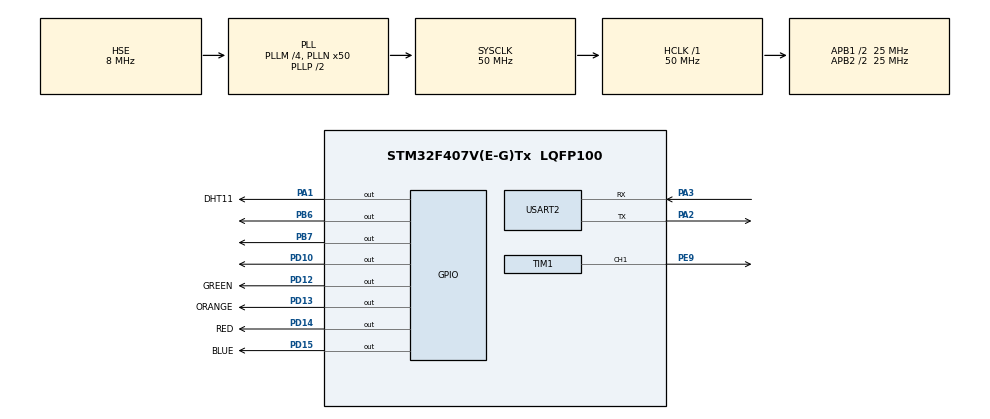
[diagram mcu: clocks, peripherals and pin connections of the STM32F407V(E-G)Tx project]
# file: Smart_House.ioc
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Dma.Request0=TIM1_CH1
Dma.TIM1_CH1.0.Direction=DMA_MEMORY_TO_PERIPH
Dma.TIM1_CH1.0.FIFOMode=DMA_FIFOMODE_DISABLE
Dma.TIM1_CH1.0.Instance=DMA2_Stream1
Dma.TIM1_CH1.0.MemDataAlignment=DMA_MDATAALIGN_WORD
Dma.TIM1_CH1.0.MemInc=DMA_MINC_ENABLE
Dma.TIM1_CH1.0.Mode=DMA_CIRCULAR
Dma.TIM1_CH1.0.PeriphDataAlignment=DMA_PDATAALIGN_WORD
Dma.TIM1_CH1.0.PeriphInc=DMA_PINC_DISABLE
Dma.TIM1_CH1.0.Priority=DMA_PRIORITY_LOW
Mcu.Family=STM32F4
Mcu.Name=STM32F407V(E-G)Tx
Mcu.Package=LQFP100
NVIC.DMA2_Stream1_IRQn=true\:0\:0\:false\:false\:true\:false\:true\:true
NVIC.PriorityGroup=NVIC_PRIORITYGROUP_0
NVIC.USART2_IRQn=true\:0\:0\:false\:false\:true\:true\:true\:true
PA1.GPIO_Label=DHT11
PA1.Signal=GPIO_Output
PA2.Mode=Asynchronous
PA2.Signal=USART2_TX
PA3.Mode=Asynchronous
PA3.Signal=USART2_RX
PB6.Signal=GPIO_Output
PB7.Signal=GPIO_Output
PD10.Signal=GPIO_Output
PD12.GPIO_Label=GREEN
PD12.Signal=GPIO_Output
PD13.GPIO_Label=ORANGE
PD13.Signal=GPIO_Output
PD14.GPIO_Label=RED
PD14.Signal=GPIO_Output
PD15.GPIO_Label=BLUE
PD15.Signal=GPIO_Output
PE9.Signal=S_TIM1_CH1
PH0-OSC_IN.Mode=HSE-External-Oscillator
PH0-OSC_IN.Signal=RCC_OSC_IN
PH1-OSC_OUT.Mode=HSE-External-Oscillator
PH1-OSC_OUT.Signal=RCC_OSC_OUT
ProjectManager.HeapSize=0x200
ProjectManager.StackSize=0x400
ProjectManager.TargetToolchain=STM32CubeIDE
RCC.48MHZClocksFreq_Value=14285714.285714285
RCC.AHBFreq_Value=50000000
RCC.APB1CLKDivider=RCC_HCLK_DIV2
RCC.APB1Freq_Value=25000000
RCC.APB1TimFreq_Value=50000000
RCC.APB2CLKDivider=RCC_HCLK_DIV2
RCC.APB2Freq_Value=25000000
RCC.APB2TimFreq_Value=50000000
RCC.CortexFreq_Value=50000000
RCC.HCLKFreq_Value=50000000
RCC.HSE_VALUE=8000000
RCC.HSI_VALUE=16000000
RCC.LSE_VALUE=32768
RCC.PLLM=4
RCC.PLLN=50
RCC.PLLQ=7
RCC.PLLSourceVirtual=RCC_PLLSOURCE_HSE
RCC.SYSCLKFreq_VALUE=50000000
RCC.SYSCLKSource=RCC_SYSCLKSOURCE_PLLCLK
RCC.VCOOutputFreq_Value=100000000
SH.S_TIM1_CH1.0=TIM1_CH1,PWM Generation1 CH1
TIM1.Channel-PWM\ Generation1\ CH1=TIM_CHANNEL_1
TIM1.Period=10
TIM1.Prescaler=50-1
TIM6.Period=0xffff-1
TIM6.Prescaler=50-1
USART2.VirtualMode=VM_ASYNC
VP_TIM6_VS_ClockSourceINT.Mode=Enable_Timer
board=STM32F407G-DISC1

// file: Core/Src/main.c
/* USER CODE BEGIN Header */
/**
  ******************************************************************************
  * @file           : main.c
  * @brief          : Main program body
  ******************************************************************************
  * @attention
  *
  * Copyright (c) 2024 STMicroelectronics.
  * All rights reserved.
  *
  * This software is licensed under terms that can be found in the LICENSE file
  * in the root directory of this software component.
  * If no LICENSE file comes with this software, it is provided AS-IS.
  *
  ******************************************************************************
  */
/* USER CODE END Header */
#include "main.h"

/* USER CODE BEGIN PD */
#define DELAY_1S 1000U
#define DELAY_18MS 18000U
#define DELAY_20US 20U
#define DELAY_40US 40U
#define DELAY_80US 80U
#define MAX_INTENSITY 10U
#define MIN_INTENSITY 0U
#define INCREMENT_STEP 2U
#define QTTX_DATA_SIZE 4U

/* USER CODE END PD */

TIM_HandleTypeDef htim1;
TIM_HandleTypeDef htim6;
DMA_HandleTypeDef hdma_tim1_ch1;

UART_HandleTypeDef huart2;

/* USER CODE BEGIN PV */
uint8_t TempByte1,TempByte2,HumByte1,HumByte2;
uint16_t Sum;
uint8_t Temperature = 0;
uint8_t Humidity = 0;
uint8_t Presence = 0 ;

uint8_t QtRxData ;
uint8_t QtTxData[QTTX_DATA_SIZE];

uint8_t Pas = INCREMENT_STEP ;
uint8_t Intensity ;
int PwmData = 0 ;

/* USER CODE END PV */

void SystemClock_Config(void);
static void MX_GPIO_Init(void);
static void MX_DMA_Init(void);
static void MX_TIM6_Init(void);
static void MX_USART2_UART_Init(void);
static void MX_TIM1_Init(void);
/* USER CODE BEGIN PFP */
static void Send_Data_Uart(uint8_t *data, uint8_t size);
static void Micro_Delay(uint16_t time);
static void Set_Pin_Output(GPIO_TypeDef *GPIOx,uint16_t GPIO_Pin);
static void Set_Pin_Input(GPIO_TypeDef *GPIOx,uint16_t GPIO_Pin);
static void Dht11_Start (void);
static void Dht11_Fct(void);
static uint8_t Check_Response (void);
static uint8_t Dht11_Read (void);

/* USER CODE END PFP */

int main(void)
{

  /* MCU Configuration--------------------------------------------------------*/

  /* Reset of all peripherals, Initializes the Flash interface and the Systick. */
  HAL_Init();

  /* Configure the system clock */
  SystemClock_Config();

  /* Initialize all configured peripherals */
  MX_GPIO_Init();
  MX_DMA_Init();
  MX_TIM6_Init();
  MX_USART2_UART_Init();
  MX_TIM1_Init();
  /* USER CODE BEGIN 2 */
  HAL_GPIO_WritePin(GPIOB, GPIO_PIN_6, GPIO_PIN_SET);
  HAL_GPIO_WritePin(GPIOB, GPIO_PIN_7, GPIO_PIN_RESET);
  if(HAL_TIM_PWM_Start_DMA(&htim1,TIM_CHANNEL_1,(uint32_t *) &PwmData,SET)!= HAL_OK)
  {

	  Error_Handler();
  }
  if(HAL_TIM_Base_Start(&htim6)!=HAL_OK)
  {
   	Error_Handler();
  }
  if (HAL_UART_Receive_IT(&huart2, &QtRxData, sizeof(QtRxData))!= HAL_OK)
  {
	  Error_Handler();
  }
  /* USER CODE END 2 */

  /* Infinite loop */
  while (1)
  {

    /* USER CODE BEGIN 3 */
	  Dht11_Fct();
	  QtTxData[0] = Temperature;
	  QtTxData[1] = Humidity ;
	  Send_Data_Uart(QtTxData, sizeof(QtTxData));
  }
  /* USER CODE END 3 */
}

void SystemClock_Config(void)
{
  RCC_OscInitTypeDef RCC_OscInitStruct = {0};
  RCC_ClkInitTypeDef RCC_ClkInitStruct = {0};

  /** Configure the main internal regulator output voltage
  */
  __HAL_RCC_PWR_CLK_ENABLE();
  __HAL_PWR_VOLTAGESCALING_CONFIG(PWR_REGULATOR_VOLTAGE_SCALE1);

  /** Initializes the RCC Oscillators according to the specified parameters
  * in the RCC_OscInitTypeDef structure.
  */
  RCC_OscInitStruct.OscillatorType = RCC_OSCILLATORTYPE_HSE;
  RCC_OscInitStruct.HSEState = RCC_HSE_ON;
  RCC_OscInitStruct.PLL.PLLState = RCC_PLL_ON;
  RCC_OscInitStruct.PLL.PLLSource = RCC_PLLSOURCE_HSE;
  RCC_OscInitStruct.PLL.PLLM = 4;
  RCC_OscInitStruct.PLL.PLLN = 50;
  RCC_OscInitStruct.PLL.PLLP = RCC_PLLP_DIV2;
  RCC_OscInitStruct.PLL.PLLQ = 7;
  if (HAL_RCC_OscConfig(&RCC_OscInitStruct) != HAL_OK)
  {
    Error_Handler();
  }

  /** Initializes the CPU, AHB and APB buses clocks
  */
  RCC_ClkInitStruct.ClockType = RCC_CLOCKTYPE_HCLK|RCC_CLOCKTYPE_SYSCLK
                              |RCC_CLOCKTYPE_PCLK1|RCC_CLOCKTYPE_PCLK2;
  RCC_ClkInitStruct.SYSCLKSource = RCC_SYSCLKSOURCE_PLLCLK;
  RCC_ClkInitStruct.AHBCLKDivider = RCC_SYSCLK_DIV1;
  RCC_ClkInitStruct.APB1CLKDivider = RCC_HCLK_DIV2;
  RCC_ClkInitStruct.APB2CLKDivider = RCC_HCLK_DIV2;

  if (HAL_RCC_ClockConfig(&RCC_ClkInitStruct, FLASH_LATENCY_1) != HAL_OK)
  {
    Error_Handler();
  }
}

static void MX_TIM1_Init(void)
{

  TIM_MasterConfigTypeDef sMasterConfig = {0};
  TIM_OC_InitTypeDef sConfigOC = {0};
  TIM_BreakDeadTimeConfigTypeDef sBreakDeadTimeConfig = {0};

  htim1.Instance = TIM1;
  htim1.Init.Prescaler = 50-1;
  htim1.Init.CounterMode = TIM_COUNTERMODE_UP;
  htim1.Init.Period = 10;
  htim1.Init.ClockDivision = TIM_CLOCKDIVISION_DIV1;
  htim1.Init.RepetitionCounter = 0;
  htim1.Init.AutoReloadPreload = TIM_AUTORELOAD_PRELOAD_DISABLE;
  if (HAL_TIM_PWM_Init(&htim1) != HAL_OK)
  {
    Error_Handler();
  }
  sMasterConfig.MasterOutputTrigger = TIM_TRGO_RESET;
  sMasterConfig.MasterSlaveMode = TIM_MASTERSLAVEMODE_DISABLE;
  if (HAL_TIMEx_MasterConfigSynchronization(&htim1, &sMasterConfig) != HAL_OK)
  {
    Error_Handler();
  }
  sConfigOC.OCMode = TIM_OCMODE_PWM1;
  sConfigOC.Pulse = 0;
  sConfigOC.OCPolarity = TIM_OCPOLARITY_HIGH;
  sConfigOC.OCNPolarity = TIM_OCNPOLARITY_HIGH;
  sConfigOC.OCFastMode = TIM_OCFAST_DISABLE;
  sConfigOC.OCIdleState = TIM_OCIDLESTATE_RESET;
  sConfigOC.OCNIdleState = TIM_OCNIDLESTATE_RESET;
  if (HAL_TIM_PWM_ConfigChannel(&htim1, &sConfigOC, TIM_CHANNEL_1) != HAL_OK)
  {
    Error_Handler();
  }
  sBreakDeadTimeConfig.OffStateRunMode = TIM_OSSR_DISABLE;
  sBreakDeadTimeConfig.OffStateIDLEMode = TIM_OSSI_DISABLE;
  sBreakDeadTimeConfig.LockLevel = TIM_LOCKLEVEL_OFF;
  sBreakDeadTimeConfig.DeadTime = 0;
  sBreakDeadTimeConfig.BreakState = TIM_BREAK_DISABLE;
  sBreakDeadTimeConfig.BreakPolarity = TIM_BREAKPOLARITY_HIGH;
  sBreakDeadTimeConfig.AutomaticOutput = TIM_AUTOMATICOUTPUT_DISABLE;
  if (HAL_TIMEx_ConfigBreakDeadTime(&htim1, &sBreakDeadTimeConfig) != HAL_OK)
  {
    Error_Handler();
  }
  HAL_TIM_MspPostInit(&htim1);

}

static void MX_TIM6_Init(void)
{

  TIM_MasterConfigTypeDef sMasterConfig = {0};

  htim6.Instance = TIM6;
  htim6.Init.Prescaler = 50-1;
  htim6.Init.CounterMode = TIM_COUNTERMODE_UP;
  htim6.Init.Period = 0xffff-1;
  htim6.Init.AutoReloadPreload = TIM_AUTORELOAD_PRELOAD_DISABLE;
  if (HAL_TIM_Base_Init(&htim6) != HAL_OK)
  {
    Error_Handler();
  }
  sMasterConfig.MasterOutputTrigger = TIM_TRGO_RESET;
  sMasterConfig.MasterSlaveMode = TIM_MASTERSLAVEMODE_DISABLE;
  if (HAL_TIMEx_MasterConfigSynchronization(&htim6, &sMasterConfig) != HAL_OK)
  {
    Error_Handler();
  }

}

static void MX_USART2_UART_Init(void)
{

  huart2.Instance = USART2;
  huart2.Init.BaudRate = 115200;
  huart2.Init.WordLength = UART_WORDLENGTH_8B;
  huart2.Init.StopBits = UART_STOPBITS_1;
  huart2.Init.Parity = UART_PARITY_NONE;
  huart2.Init.Mode = UART_MODE_TX_RX;
  huart2.Init.HwFlowCtl = UART_HWCONTROL_NONE;
  huart2.Init.OverSampling = UART_OVERSAMPLING_16;
  if (HAL_UART_Init(&huart2) != HAL_OK)
  {
    Error_Handler();
  }

}

static void MX_DMA_Init(void)
{

  /* DMA controller clock enable */
  __HAL_RCC_DMA2_CLK_ENABLE();

  /* DMA interrupt init */
  /* DMA2_Stream1_IRQn interrupt configuration */
  HAL_NVIC_SetPriority(DMA2_Stream1_IRQn, 0, 0);
  HAL_NVIC_EnableIRQ(DMA2_Stream1_IRQn);

}

static void MX_GPIO_Init(void)
{
  GPIO_InitTypeDef GPIO_InitStruct = {0};

  /* GPIO Ports Clock Enable */
  __HAL_RCC_GPIOH_CLK_ENABLE();
  __HAL_RCC_GPIOA_CLK_ENABLE();
  __HAL_RCC_GPIOE_CLK_ENABLE();
  __HAL_RCC_GPIOD_CLK_ENABLE();
  __HAL_RCC_GPIOB_CLK_ENABLE();

  /*Configure GPIO pin Output Level */
  HAL_GPIO_WritePin(DHT11_GPIO_Port, DHT11_Pin, GPIO_PIN_RESET);

  /*Configure GPIO pin Output Level */
  HAL_GPIO_WritePin(GPIOD, GPIO_PIN_10|GREEN_Pin|ORANGE_Pin|RED_Pin
                          |BLUE_Pin, GPIO_PIN_RESET);

  /*Configure GPIO pin Output Level */
  HAL_GPIO_WritePin(GPIOB, GPIO_PIN_6|GPIO_PIN_7, GPIO_PIN_RESET);

  /*Configure GPIO pin : DHT11_Pin */
  GPIO_InitStruct.Pin = DHT11_Pin;
  GPIO_InitStruct.Mode = GPIO_MODE_OUTPUT_PP;
  GPIO_InitStruct.Pull = GPIO_NOPULL;
  GPIO_InitStruct.Speed = GPIO_SPEED_FREQ_LOW;
  HAL_GPIO_Init(DHT11_GPIO_Port, &GPIO_InitStruct);

  /*Configure GPIO pins : PD10 GREEN_Pin ORANGE_Pin RED_Pin
                           BLUE_Pin */
  GPIO_InitStruct.Pin = GPIO_PIN_10|GREEN_Pin|ORANGE_Pin|RED_Pin
                          |BLUE_Pin;
  GPIO_InitStruct.Mode = GPIO_MODE_OUTPUT_PP;
  GPIO_InitStruct.Pull = GPIO_NOPULL;
  GPIO_InitStruct.Speed = GPIO_SPEED_FREQ_LOW;
  HAL_GPIO_Init(GPIOD, &GPIO_InitStruct);

  /*Configure GPIO pins : PB6 PB7 */
  GPIO_InitStruct.Pin = GPIO_PIN_6|GPIO_PIN_7;
  GPIO_InitStruct.Mode = GPIO_MODE_OUTPUT_PP;
  GPIO_InitStruct.Pull = GPIO_NOPULL;
  GPIO_InitStruct.Speed = GPIO_SPEED_FREQ_LOW;
  HAL_GPIO_Init(GPIOB, &GPIO_InitStruct);

}

/* USER CODE BEGIN 4 */
static void Send_Data_Uart(uint8_t *data, uint8_t size)
{
	   HAL_UART_Transmit(&huart2,  data, size, HAL_MAX_DELAY);
}
void HAL_UART_RxCpltCallback(UART_HandleTypeDef *huart)
{
	if(huart->Instance == USART2)
	  {
		 if ( HAL_UART_Receive_IT(&huart2, &QtRxData, sizeof(QtRxData)) != HAL_OK )
		 {
			 Error_Handler();
		 }

		 if( QtRxData == 'O' )
			 {

			 HAL_GPIO_WritePin(GPIOD,GPIO_PIN_10 , GPIO_PIN_SET);
			 QtTxData[2] =  SET ;

			 }
	     else if( QtRxData == 'F' )
			 {

		     HAL_GPIO_WritePin(GPIOD,GPIO_PIN_10 , GPIO_PIN_RESET);
			 QtTxData[2] = RESET  ;

			 }
	     else if ( QtRxData == 'P' )
	     {
	    	 Intensity += Pas;
	    	 if (Intensity > MAX_INTENSITY)
	    	 {
	    	 Intensity = MAX_INTENSITY;
	    	 }
	    	 QtTxData[3] = Intensity ;
	    	 PwmData = Intensity ;
	     }
	     else if ( QtRxData == 'M' )
	     {
	    	 Intensity -= Pas;
	    	 if (Intensity < MIN_INTENSITY)
	    	 {
	    	 Intensity = MIN_INTENSITY;
	    	 }
	    	 QtTxData[3] = Intensity ;
	    	 PwmData = Intensity ;
	     }
	  }
}
static void Micro_Delay(uint16_t time){
	  __HAL_TIM_SET_COUNTER(&htim6, RESET);
	  while (__HAL_TIM_GET_COUNTER(&htim6) < time);
}
static void Set_Pin_Output(GPIO_TypeDef *GPIOx,uint16_t GPIO_Pin)
{
GPIO_InitTypeDef GPIO_InitStruct = {GPIO_PIN_RESET};
GPIO_InitStruct.Pin = GPIO_Pin;
GPIO_InitStruct.Mode = GPIO_MODE_OUTPUT_PP;
GPIO_InitStruct.Pull = GPIO_PULLUP;
GPIO_InitStruct.Speed = GPIO_SPEED_FREQ_LOW;
HAL_GPIO_Init(GPIOx, &GPIO_InitStruct);
}

static void Set_Pin_Input(GPIO_TypeDef *GPIOx,uint16_t GPIO_Pin)
{
GPIO_InitTypeDef GPIO_InitStruct = {GPIO_PIN_RESET};
GPIO_InitStruct.Pin = GPIO_Pin;
GPIO_InitStruct.Mode = GPIO_MODE_INPUT;
GPIO_InitStruct.Pull = GPIO_NOPULL;
GPIO_InitStruct.Speed = GPIO_SPEED_FREQ_LOW;
HAL_GPIO_Init(GPIOx, &GPIO_InitStruct);
}
static void Dht11_Start (void)
{
	Set_Pin_Output(  DHT11_GPIO_Port, DHT11_Pin );
	HAL_GPIO_WritePin( DHT11_GPIO_Port, DHT11_Pin, GPIO_PIN_SET );   // pull the pin high
	HAL_Delay(DELAY_1S);
	HAL_GPIO_WritePin( DHT11_GPIO_Port, DHT11_Pin, GPIO_PIN_RESET );   // pull the pin low
	Micro_Delay(DELAY_18MS);
	HAL_GPIO_WritePin( DHT11_GPIO_Port, DHT11_Pin, GPIO_PIN_SET );   // pull the pin high
	Micro_Delay(DELAY_20US);
	Set_Pin_Input( DHT11_GPIO_Port, DHT11_Pin );
}

static uint8_t Check_Response (void)
{
	uint8_t Response = RESET ;
	Micro_Delay(DELAY_40US);
	if (!(HAL_GPIO_ReadPin (DHT11_GPIO_Port, DHT11_Pin)))
	{
	 Micro_Delay(DELAY_80US);
		if ((HAL_GPIO_ReadPin (DHT11_GPIO_Port, DHT11_Pin)))
		{
			Response = SET;
		}
		else
	    {
			Response = -1;
	    }
	}
	while ((HAL_GPIO_ReadPin (DHT11_GPIO_Port, DHT11_Pin)));   // wait for the pin to go low

	return Response;
}

static uint8_t Dht11_Read (void)
{
	uint8_t i,j;
	for (j=0;j<8;j++)
	{
		while (!(HAL_GPIO_ReadPin (DHT11_GPIO_Port, DHT11_Pin)));   // wait for the pin to go high
		Micro_Delay(DELAY_40US);   // wait for 40 us
		if (!(HAL_GPIO_ReadPin (DHT11_GPIO_Port, DHT11_Pin)))   // if the pin is low
		{
			i&= ~(1<<(7-j));   // write 0
		}
		else i|= (1<<(7-j));  // if the pin is high, write 1
		while ((HAL_GPIO_ReadPin (DHT11_GPIO_Port, DHT11_Pin)));  // wait for the pin to go low
	}
	return i;
}
static void Dht11_Fct(void)
 {
	  Dht11_Start();
	  Presence   = Check_Response();
	  HumByte1  =  Dht11_Read();
	  HumByte2  =  Dht11_Read();
	  TempByte1 =  Dht11_Read();
	  TempByte2 =  Dht11_Read();
	  Sum        =  Dht11_Read();
	  Temperature = TempByte1;
	  Humidity    =  HumByte1 ;
}

/* USER CODE END 4 */

void Error_Handler(void)
{
  __disable_irq();
  while (1)
  {
  }
}
